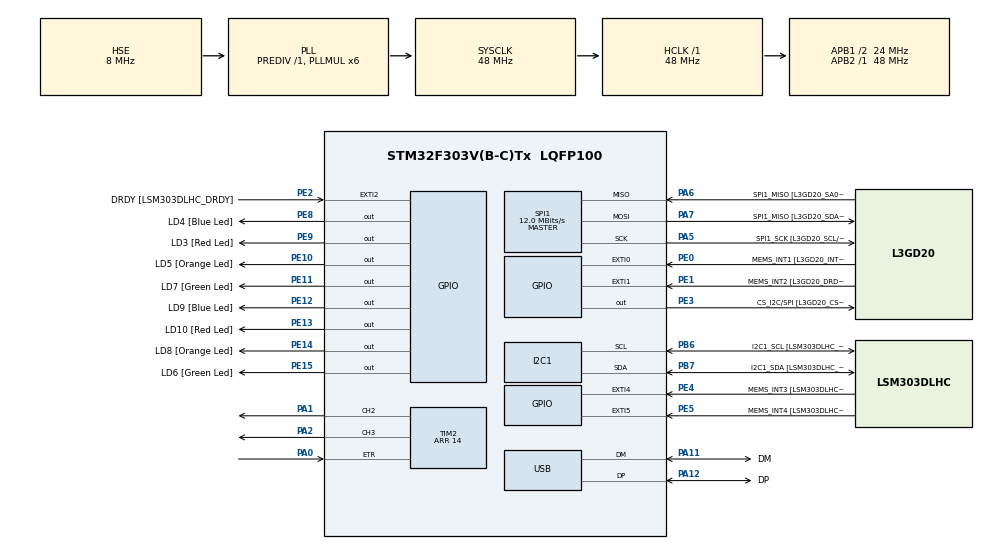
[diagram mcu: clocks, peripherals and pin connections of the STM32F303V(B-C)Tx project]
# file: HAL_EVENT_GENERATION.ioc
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I2C1.Timing-I2C=0x2000090E
Mcu.Family=STM32F3
Mcu.Name=STM32F303V(B-C)Tx
Mcu.Package=LQFP100
NVIC.PriorityGroup=NVIC_PRIORITYGROUP_0
NVIC.TIM2_IRQn=true\:0\:0\:false\:false\:true\:true\:true\:true
PA0.Signal=S_TIM2_CH1_ETR
PA1.GPIO_PuPd=GPIO_NOPULL
PA1.Signal=S_TIM2_CH2
PA11.GPIO_Label=DM
PA11.Mode=Device
PA11.Signal=USB_DM
PA12.GPIO_Label=DP
PA12.Mode=Device
PA12.Signal=USB_DP
PA13.GPIO_Label=SWDIO
PA13.Mode=Serial_Wire
PA13.Signal=SYS_JTMS-SWDIO
PA14.GPIO_Label=SWCLK
PA14.Mode=Serial_Wire
PA14.Signal=SYS_JTCK-SWCLK
PA2.GPIO_PuPd=GPIO_NOPULL
PA2.Signal=S_TIM2_CH3
PA5.GPIO_Label=SPI1_SCK [L3GD20_SCL/SPC]
PA5.Mode=Full_Duplex_Master
PA5.Signal=SPI1_SCK
PA6.GPIO_Label=SPI1_MISO [L3GD20_SA0/SDO]
PA6.Mode=Full_Duplex_Master
PA6.Signal=SPI1_MISO
PA7.GPIO_Label=SPI1_MISO [L3GD20_SDA/SDI/SDO]
PA7.Mode=Full_Duplex_Master
PA7.Signal=SPI1_MOSI
PB3.GPIO_Label=SWO
PB3.Signal=SYS_JTDO-TRACESWO
PB6.GPIO_Label=I2C1_SCL [LSM303DLHC_SCL]
PB6.GPIO_Pu=GPIO_PULLUP
PB6.Mode=I2C
PB6.Signal=I2C1_SCL
PB7.GPIO_Label=I2C1_SDA [LSM303DLHC_SDA]
PB7.GPIO_Pu=GPIO_PULLUP
PB7.Mode=I2C
PB7.Signal=I2C1_SDA
PC14-OSC32_IN.GPIO_Label=OSC32_IN
PC14-OSC32_IN.Signal=RCC_OSC32_IN
PC15-OSC32_OUT.GPIO_Label=OSC32_OUT
PC15-OSC32_OUT.Signal=RCC_OSC32_OUT
PE0.GPIO_Label=MEMS_INT1 [L3GD20_INT1]
PE0.GPIO_ModeDefaultEXTI=GPIO_MODE_EVT_RISING
PE0.Signal=GPXTI0
PE1.GPIO_Label=MEMS_INT2 [L3GD20_DRDY/INT2]
PE1.GPIO_ModeDefaultEXTI=GPIO_MODE_EVT_RISING
PE1.Signal=GPXTI1
PE10.GPIO_Label=LD5 [Orange Led]
PE10.Signal=GPIO_Output
PE11.GPIO_Label=LD7 [Green Led]
PE11.Signal=GPIO_Output
PE12.GPIO_Label=LD9 [Blue Led]
PE12.Signal=GPIO_Output
PE13.GPIO_Label=LD10 [Red Led]
PE13.Signal=GPIO_Output
PE14.GPIO_Label=LD8 [Orange Led]
PE14.Signal=GPIO_Output
PE15.GPIO_Label=LD6 [Green Led]
PE15.Signal=GPIO_Output
PE2.GPIO_Label=DRDY [LSM303DLHC_DRDY]
PE2.GPIO_ModeDefaultEXTI=GPIO_MODE_EVT_RISING
PE2.Signal=GPXTI2
PE3.GPIO_Label=CS_I2C/SPI [L3GD20_CS_I2C/SPI]
PE3.Signal=GPIO_Output
PE4.GPIO_Label=MEMS_INT3 [LSM303DLHC_INT1]
PE4.GPIO_ModeDefaultEXTI=GPIO_MODE_EVT_RISING
PE4.Signal=GPXTI4
PE5.GPIO_Label=MEMS_INT4 [LSM303DLHC_INT2]
PE5.GPIO_ModeDefaultEXTI=GPIO_MODE_EVT_RISING
PE5.Signal=GPXTI5
PE8.GPIO_Label=LD4 [Blue Led]
PE8.Signal=GPIO_Output
PE9.GPIO_Label=LD3 [Red Led]
PE9.Signal=GPIO_Output
PF0-OSC_IN.GPIO_Label=OSC_IN
PF0-OSC_IN.Mode=HSE-External-Clock-Source
PF0-OSC_IN.Signal=RCC_OSC_IN
PF1-OSC_OUT.GPIO_Label=OSC_OUT
PF1-OSC_OUT.Signal=RCC_OSC_OUT
ProjectManager.HeapSize=0x200
ProjectManager.StackSize=0x400
ProjectManager.TargetToolchain=STM32CubeIDE
RCC.AHBFreq_Value=48000000
RCC.APB1CLKDivider=RCC_HCLK_DIV2
RCC.APB1Freq_Value=24000000
RCC.APB1TimFreq_Value=48000000
RCC.APB2Freq_Value=48000000
RCC.APB2TimFreq_Value=48000000
RCC.CortexFreq_Value=48000000
RCC.HCLKFreq_Value=48000000
RCC.HSE_VALUE=8000000
RCC.HSI_VALUE=8000000
RCC.LSE_VALUE=32768
RCC.PLLMUL=RCC_PLL_MUL6
RCC.SYSCLKFreq_VALUE=48000000
RCC.SYSCLKSourceVirtual=RCC_SYSCLKSOURCE_PLLCLK
RCC.USBFreq_Value=48000000
SH.S_TIM2_CH1_ETR.0=TIM2_ETR,ClockSourceETR_Mode2
SH.S_TIM2_CH2.0=TIM2_CH2,Output Compare2 CH2
SH.S_TIM2_CH3.0=TIM2_CH3,Output Compare3 CH3
SPI1.BaudRatePrescaler=SPI_BAUDRATEPRESCALER_4
SPI1.BaudRatePrescaler-Full_Duplex_Master=SPI_BAUDRATEPRESCALER_2
SPI1.CalculateBaudRate=12.0 MBits/s
SPI1.CalculateBaudRate-Full_Duplex_Master=24.0 MBits/s
SPI1.Direction=SPI_DIRECTION_2LINES
SPI1.Mode=SPI_MODE_MASTER
SPI1.Mode-Full_Duplex_Master=SPI_MODE_MASTER
SPI1.VirtualType=VM_MASTER
TIM2.AutoReloadPreload=TIM_AUTORELOAD_PRELOAD_ENABLE
TIM2.Channel-Output\ Compare2\ CH2=TIM_CHANNEL_2
TIM2.Channel-Output\ Compare3\ CH3=TIM_CHANNEL_3
TIM2.ClearChannel2=TIM_CHANNEL_2
TIM2.ClearChannel3=TIM_CHANNEL_3
TIM2.ClearInputSource=TIM_CLEARINPUTSOURCE_OCREFCLR
TIM2.ClockFilter=0xF
TIM2.OC2Preload=ENABLE
TIM2.OC3Preload=ENABLE
TIM2.OCMode_2=TIM_OCMODE_ACTIVE
TIM2.OCMode_3=TIM_OCMODE_TOGGLE
TIM2.OCPolarity_2=TIM_OCPOLARITY_LOW
TIM2.OCPolarity_3=TIM_OCPOLARITY_LOW
TIM2.Period=14
TIM2.Pulse-Output\ Compare2\ CH2=5
TIM2.Pulse-Output\ Compare3\ CH3=10
TIM2.TIM_MasterOutputTrigger=TIM_TRGO_RESET
TIM2.TIM_MasterSlaveMode=TIM_MASTERSLAVEMODE_DISABLE
board=STM32F3DISCOVERY

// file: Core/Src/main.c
/* USER CODE BEGIN Header */
/**
  ******************************************************************************
  * @file           : main.c
  * @brief          : Main program body
  ******************************************************************************
  * @attention
  *
  * Copyright (c) 2024 STMicroelectronics.
  * All rights reserved.
  *
  * This software is licensed under terms that can be found in the LICENSE file
  * in the root directory of this software component.
  * If no LICENSE file comes with this software, it is provided AS-IS.
  *
  ******************************************************************************
  */
/* USER CODE END Header */
#include "main.h"

I2C_HandleTypeDef hi2c1;

SPI_HandleTypeDef hspi1;

TIM_HandleTypeDef htim2;

PCD_HandleTypeDef hpcd_USB_FS;

/* USER CODE BEGIN PV */
uint8_t PIN_STATE [3];
/* USER CODE END PV */

void SystemClock_Config(void);
static void MX_GPIO_Init(void);
static void MX_I2C1_Init(void);
static void MX_SPI1_Init(void);
static void MX_USB_PCD_Init(void);
static void MX_TIM2_Init(void);

int main(void)
{

  /* MCU Configuration--------------------------------------------------------*/

  /* Reset of all peripherals, Initializes the Flash interface and the Systick. */
  HAL_Init();

  /* Configure the system clock */
  SystemClock_Config();

  /* Initialize all configured peripherals */
  MX_GPIO_Init();
  MX_I2C1_Init();
  MX_SPI1_Init();
  MX_USB_PCD_Init();
  MX_TIM2_Init();
  /* USER CODE BEGIN 2 */

  HAL_TIM_OC_Start_IT(&htim2, TIM_CHANNEL_2);
  HAL_TIM_OC_Start_IT(&htim2, TIM_CHANNEL_3);
  HAL_TIM_Base_Start_IT(&htim2);

  /* USER CODE END 2 */

  /* Infinite loop */
  /* USER CODE BEGIN WHILE */
  while (1)
  {
	  PIN_STATE[0] = HAL_GPIO_ReadPin(GPIOA, GPIO_PIN_0);
	  PIN_STATE[1] = HAL_GPIO_ReadPin(GPIOA, GPIO_PIN_1);
	  PIN_STATE[2] = HAL_GPIO_ReadPin(GPIOA, GPIO_PIN_2);
    /* USER CODE END WHILE */

  }
}

void SystemClock_Config(void)
{
  RCC_OscInitTypeDef RCC_OscInitStruct = {0};
  RCC_ClkInitTypeDef RCC_ClkInitStruct = {0};
  RCC_PeriphCLKInitTypeDef PeriphClkInit = {0};

  /** Initializes the RCC Oscillators according to the specified parameters
  * in the RCC_OscInitTypeDef structure.
  */
  RCC_OscInitStruct.OscillatorType = RCC_OSCILLATORTYPE_HSI|RCC_OSCILLATORTYPE_HSE;
  RCC_OscInitStruct.HSEState = RCC_HSE_BYPASS;
  RCC_OscInitStruct.HSEPredivValue = RCC_HSE_PREDIV_DIV1;
  RCC_OscInitStruct.HSIState = RCC_HSI_ON;
  RCC_OscInitStruct.HSICalibrationValue = RCC_HSICALIBRATION_DEFAULT;
  RCC_OscInitStruct.PLL.PLLState = RCC_PLL_ON;
  RCC_OscInitStruct.PLL.PLLSource = RCC_PLLSOURCE_HSE;
  RCC_OscInitStruct.PLL.PLLMUL = RCC_PLL_MUL6;
  if (HAL_RCC_OscConfig(&RCC_OscInitStruct) != HAL_OK)
  {
    Error_Handler();
  }

  /** Initializes the CPU, AHB and APB buses clocks
  */
  RCC_ClkInitStruct.ClockType = RCC_CLOCKTYPE_HCLK|RCC_CLOCKTYPE_SYSCLK
                              |RCC_CLOCKTYPE_PCLK1|RCC_CLOCKTYPE_PCLK2;
  RCC_ClkInitStruct.SYSCLKSource = RCC_SYSCLKSOURCE_PLLCLK;
  RCC_ClkInitStruct.AHBCLKDivider = RCC_SYSCLK_DIV1;
  RCC_ClkInitStruct.APB1CLKDivider = RCC_HCLK_DIV2;
  RCC_ClkInitStruct.APB2CLKDivider = RCC_HCLK_DIV1;

  if (HAL_RCC_ClockConfig(&RCC_ClkInitStruct, FLASH_LATENCY_1) != HAL_OK)
  {
    Error_Handler();
  }
  PeriphClkInit.PeriphClockSelection = RCC_PERIPHCLK_USB|RCC_PERIPHCLK_I2C1;
  PeriphClkInit.I2c1ClockSelection = RCC_I2C1CLKSOURCE_HSI;
  PeriphClkInit.USBClockSelection = RCC_USBCLKSOURCE_PLL;
  if (HAL_RCCEx_PeriphCLKConfig(&PeriphClkInit) != HAL_OK)
  {
    Error_Handler();
  }
}

static void MX_I2C1_Init(void)
{

  hi2c1.Instance = I2C1;
  hi2c1.Init.Timing = 0x2000090E;
  hi2c1.Init.OwnAddress1 = 0;
  hi2c1.Init.AddressingMode = I2C_ADDRESSINGMODE_7BIT;
  hi2c1.Init.DualAddressMode = I2C_DUALADDRESS_DISABLE;
  hi2c1.Init.OwnAddress2 = 0;
  hi2c1.Init.OwnAddress2Masks = I2C_OA2_NOMASK;
  hi2c1.Init.GeneralCallMode = I2C_GENERALCALL_DISABLE;
  hi2c1.Init.NoStretchMode = I2C_NOSTRETCH_DISABLE;
  if (HAL_I2C_Init(&hi2c1) != HAL_OK)
  {
    Error_Handler();
  }

  /** Configure Analogue filter
  */
  if (HAL_I2CEx_ConfigAnalogFilter(&hi2c1, I2C_ANALOGFILTER_ENABLE) != HAL_OK)
  {
    Error_Handler();
  }

  /** Configure Digital filter
  */
  if (HAL_I2CEx_ConfigDigitalFilter(&hi2c1, 0) != HAL_OK)
  {
    Error_Handler();
  }

}

static void MX_SPI1_Init(void)
{

  /* SPI1 parameter configuration*/
  hspi1.Instance = SPI1;
  hspi1.Init.Mode = SPI_MODE_MASTER;
  hspi1.Init.Direction = SPI_DIRECTION_2LINES;
  hspi1.Init.DataSize = SPI_DATASIZE_4BIT;
  hspi1.Init.CLKPolarity = SPI_POLARITY_LOW;
  hspi1.Init.CLKPhase = SPI_PHASE_1EDGE;
  hspi1.Init.NSS = SPI_NSS_SOFT;
  hspi1.Init.BaudRatePrescaler = SPI_BAUDRATEPRESCALER_4;
  hspi1.Init.FirstBit = SPI_FIRSTBIT_MSB;
  hspi1.Init.TIMode = SPI_TIMODE_DISABLE;
  hspi1.Init.CRCCalculation = SPI_CRCCALCULATION_DISABLE;
  hspi1.Init.CRCPolynomial = 7;
  hspi1.Init.CRCLength = SPI_CRC_LENGTH_DATASIZE;
  hspi1.Init.NSSPMode = SPI_NSS_PULSE_ENABLE;
  if (HAL_SPI_Init(&hspi1) != HAL_OK)
  {
    Error_Handler();
  }

}

static void MX_TIM2_Init(void)
{

  TIM_ClockConfigTypeDef sClockSourceConfig = {0};
  TIM_ClearInputConfigTypeDef sClearInputConfig = {0};
  TIM_MasterConfigTypeDef sMasterConfig = {0};
  TIM_OC_InitTypeDef sConfigOC = {0};

  htim2.Instance = TIM2;
  htim2.Init.Prescaler = 0;
  htim2.Init.CounterMode = TIM_COUNTERMODE_UP;
  htim2.Init.Period = 14;
  htim2.Init.ClockDivision = TIM_CLOCKDIVISION_DIV1;
  htim2.Init.AutoReloadPreload = TIM_AUTORELOAD_PRELOAD_ENABLE;
  if (HAL_TIM_Base_Init(&htim2) != HAL_OK)
  {
    Error_Handler();
  }
  sClockSourceConfig.ClockSource = TIM_CLOCKSOURCE_ETRMODE2;
  sClockSourceConfig.ClockPolarity = TIM_CLOCKPOLARITY_NONINVERTED;
  sClockSourceConfig.ClockPrescaler = TIM_CLOCKPRESCALER_DIV1;
  sClockSourceConfig.ClockFilter = 0xF;
  if (HAL_TIM_ConfigClockSource(&htim2, &sClockSourceConfig) != HAL_OK)
  {
    Error_Handler();
  }
  if (HAL_TIM_OC_Init(&htim2) != HAL_OK)
  {
    Error_Handler();
  }
  sClearInputConfig.ClearInputState = ENABLE;
  sClearInputConfig.ClearInputSource = TIM_CLEARINPUTSOURCE_OCREFCLR;
  if (HAL_TIM_ConfigOCrefClear(&htim2, &sClearInputConfig, TIM_CHANNEL_2) != HAL_OK)
  {
    Error_Handler();
  }
  if (HAL_TIM_ConfigOCrefClear(&htim2, &sClearInputConfig, TIM_CHANNEL_3) != HAL_OK)
  {
    Error_Handler();
  }
  sMasterConfig.MasterOutputTrigger = TIM_TRGO_RESET;
  sMasterConfig.MasterSlaveMode = TIM_MASTERSLAVEMODE_DISABLE;
  if (HAL_TIMEx_MasterConfigSynchronization(&htim2, &sMasterConfig) != HAL_OK)
  {
    Error_Handler();
  }
  sConfigOC.OCMode = TIM_OCMODE_ACTIVE;
  sConfigOC.Pulse = 5;
  sConfigOC.OCPolarity = TIM_OCPOLARITY_LOW;
  sConfigOC.OCFastMode = TIM_OCFAST_DISABLE;
  if (HAL_TIM_OC_ConfigChannel(&htim2, &sConfigOC, TIM_CHANNEL_2) != HAL_OK)
  {
    Error_Handler();
  }
  __HAL_TIM_ENABLE_OCxPRELOAD(&htim2, TIM_CHANNEL_2);
  sConfigOC.OCMode = TIM_OCMODE_TOGGLE;
  sConfigOC.Pulse = 10;
  if (HAL_TIM_OC_ConfigChannel(&htim2, &sConfigOC, TIM_CHANNEL_3) != HAL_OK)
  {
    Error_Handler();
  }
  __HAL_TIM_ENABLE_OCxPRELOAD(&htim2, TIM_CHANNEL_3);
  HAL_TIM_MspPostInit(&htim2);

}

static void MX_USB_PCD_Init(void)
{

  hpcd_USB_FS.Instance = USB;
  hpcd_USB_FS.Init.dev_endpoints = 8;
  hpcd_USB_FS.Init.speed = PCD_SPEED_FULL;
  hpcd_USB_FS.Init.phy_itface = PCD_PHY_EMBEDDED;
  hpcd_USB_FS.Init.low_power_enable = DISABLE;
  hpcd_USB_FS.Init.battery_charging_enable = DISABLE;
  if (HAL_PCD_Init(&hpcd_USB_FS) != HAL_OK)
  {
    Error_Handler();
  }

}

static void MX_GPIO_Init(void)
{
  GPIO_InitTypeDef GPIO_InitStruct = {0};

  /* GPIO Ports Clock Enable */
  __HAL_RCC_GPIOE_CLK_ENABLE();
  __HAL_RCC_GPIOC_CLK_ENABLE();
  __HAL_RCC_GPIOF_CLK_ENABLE();
  __HAL_RCC_GPIOA_CLK_ENABLE();
  __HAL_RCC_GPIOB_CLK_ENABLE();

  /*Configure GPIO pin Output Level */
  HAL_GPIO_WritePin(GPIOE, CS_I2C_SPI_Pin|LD4_Pin|LD3_Pin|LD5_Pin
                          |LD7_Pin|LD9_Pin|LD10_Pin|LD8_Pin
                          |LD6_Pin, GPIO_PIN_RESET);

  /*Configure GPIO pins : DRDY_Pin MEMS_INT3_Pin MEMS_INT4_Pin MEMS_INT1_Pin
                           MEMS_INT2_Pin */
  GPIO_InitStruct.Pin = DRDY_Pin|MEMS_INT3_Pin|MEMS_INT4_Pin|MEMS_INT1_Pin
                          |MEMS_INT2_Pin;
  GPIO_InitStruct.Mode = GPIO_MODE_EVT_RISING;
  GPIO_InitStruct.Pull = GPIO_NOPULL;
  HAL_GPIO_Init(GPIOE, &GPIO_InitStruct);

  /*Configure GPIO pins : CS_I2C_SPI_Pin LD4_Pin LD3_Pin LD5_Pin
                           LD7_Pin LD9_Pin LD10_Pin LD8_Pin
                           LD6_Pin */
  GPIO_InitStruct.Pin = CS_I2C_SPI_Pin|LD4_Pin|LD3_Pin|LD5_Pin
                          |LD7_Pin|LD9_Pin|LD10_Pin|LD8_Pin
                          |LD6_Pin;
  GPIO_InitStruct.Mode = GPIO_MODE_OUTPUT_PP;
  GPIO_InitStruct.Pull = GPIO_NOPULL;
  GPIO_InitStruct.Speed = GPIO_SPEED_FREQ_LOW;
  HAL_GPIO_Init(GPIOE, &GPIO_InitStruct);

}

/* USER CODE BEGIN 4 */
void HAL_TIM_PeriodElapsedCallback(TIM_HandleTypeDef *htim)
{

	//DUE TO TIMER RUNNING AND PIN IN ALTERNATE MODE GPIOS CAN NOT BE CONTROLLED DIRECTLY !!!
	//HAL_GPIO_WritePin(GPIOA, GPIO_PIN_1, ENABLE);  -- NOT WORKING

	//CHANGE TIMER VALUES INSTEAD \/

	//RESET CHANNEL_2
	uint32_t * CCMRx = (uint32_t*) 0x40000018UL;

	//CLEAR THE OC2M VALUE
	*CCMRx &= ~(7 << 12);

	//FORCE INACTIVE
	*CCMRx |= (4 << 12);

	//CLEAR THE OC2M VALUE
	*CCMRx &= ~(7 << 12);

	//ACTIVE ON MATCH
	*CCMRx |= (1 << 12);

	//RESET CHANNEL_2
	CCMRx = (uint32_t*) 0x4000001CUL;

	//CLEAR THE OC3M VALUE
	*CCMRx &= ~(7 << 4);

	//FORCE INACTIVE
	*CCMRx |= (4 << 4);

	//CLEAR THE OC2M VALUE
	*CCMRx &= ~(7 << 4);

	//ACTIVE ON MATCH
	*CCMRx |= (1 << 4);

}
/* USER CODE END 4 */

void Error_Handler(void)
{
  __disable_irq();
  while (1)
  {
  }
}
